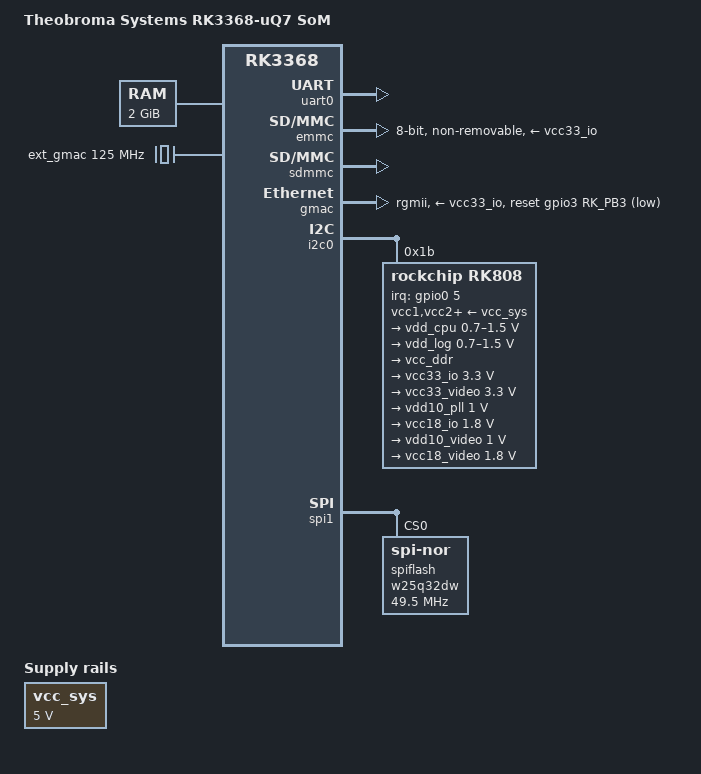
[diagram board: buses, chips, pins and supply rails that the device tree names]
// SPDX-License-Identifier: GPL-2.0+ OR X11
/*
 * (C) Copyright 2017 Theobroma Systems Design und Consulting GmbH
 */

/dts-v1/;
#include "rockchip/rk3368.dtsi"

/ {
	model = "Theobroma Systems RK3368-uQ7 SoM";
	compatible = "tsd,rk3368-uq7", "tsd,lion", "rockchip,rk3368";

	aliases {
		mmc1 = &emmc;
		mmc0 = &sdmmc;
	};

	memory@0 {
		device_type = "memory";
		reg = <0x0 0x0 0x0 0x80000000>;
	};

	ext_gmac: gmac-clk {
		compatible = "fixed-clock";
		clock-frequency = <125000000>;
		clock-output-names = "ext_gmac";
		#clock-cells = <0>;
	};

	vcc_sys: vcc-sys-regulator {
		compatible = "regulator-fixed";
		regulator-name = "vcc_sys";
		regulator-min-microvolt = <5000000>;
		regulator-max-microvolt = <5000000>;
		regulator-always-on;
		regulator-boot-on;
	};
	cpus {
		#address-cells = <0x2>;
		#size-cells = <0x0>;

		cpu-map {
			cluster0 {
				core0 {
					cpu = <&cpu_l0>;
				};
				core1 {
					cpu = <&cpu_l1>;
				};
				core2 {
					cpu = <&cpu_l2>;
				};
				core3 {
					cpu = <&cpu_l3>;
				};
			};

			cluster1 {
				core0 {
					cpu = <&cpu_b0>;
				};
				core1 {
					cpu = <&cpu_b1>;
				};
				core2 {
					cpu = <&cpu_b2>;
				};
				core3 {
					cpu = <&cpu_b3>;
				};
			};
		};

		cpu_l0: cpu@0 {
			device_type = "cpu";
			compatible = "arm,cortex-a53", "arm,armv8";
			reg = <0x0 0x0>;
			enable-method = "psci";
			clocks = <&cru ARMCLKL>;
			next-level-cache = <&cluster0_l2>;
			operating-points-v2 = <&cluster0_opp>;
		};

		cpu_l1: cpu@1 {
			device_type = "cpu";
			compatible = "arm,cortex-a53", "arm,armv8";
			reg = <0x0 0x1>;
			enable-method = "psci";
			clocks = <&cru ARMCLKL>;
			next-level-cache = <&cluster0_l2>;
			operating-points-v2 = <&cluster0_opp>;
		};

		cpu_l2: cpu@2 {
			device_type = "cpu";
			compatible = "arm,cortex-a53", "arm,armv8";
			reg = <0x0 0x2>;
			enable-method = "psci";
			clocks = <&cru ARMCLKL>;
			next-level-cache = <&cluster0_l2>;
			operating-points-v2 = <&cluster0_opp>;
		};

		cpu_l3: cpu@3 {
			device_type = "cpu";
			compatible = "arm,cortex-a53", "arm,armv8";
			reg = <0x0 0x3>;
			enable-method = "psci";
			clocks = <&cru ARMCLKL>;
			next-level-cache = <&cluster0_l2>;
			operating-points-v2 = <&cluster0_opp>;
		};

		cpu_b0: cpu@100 {
			device_type = "cpu";
			compatible = "arm,cortex-a53", "arm,armv8";
			reg = <0x0 0x100>;
			enable-method = "psci";
			clocks = <&cru ARMCLKB>;
			next-level-cache = <&cluster1_l2>;
			operating-points-v2 = <&cluster1_opp>;
		};

		cpu_b1: cpu@101 {
			device_type = "cpu";
			compatible = "arm,cortex-a53", "arm,armv8";
			reg = <0x0 0x101>;
			enable-method = "psci";
			clocks = <&cru ARMCLKB>;
			next-level-cache = <&cluster1_l2>;
			operating-points-v2 = <&cluster1_opp>;
		};

		cpu_b2: cpu@102 {
			device_type = "cpu";
			compatible = "arm,cortex-a53", "arm,armv8";
			reg = <0x0 0x102>;
			enable-method = "psci";
			clocks = <&cru ARMCLKB>;
			next-level-cache = <&cluster1_l2>;
			operating-points-v2 = <&cluster1_opp>;
		};

		cpu_b3: cpu@103 {
			device_type = "cpu";
			compatible = "arm,cortex-a53", "arm,armv8";
			reg = <0x0 0x103>;
			enable-method = "psci";
			clocks = <&cru ARMCLKB>;
			next-level-cache = <&cluster1_l2>;
			operating-points-v2 = <&cluster1_opp>;
		};

		cluster0_l2: l2-cache0 {
			compatible = "cache";
		};

		cluster1_l2: l2-cache1 {
			compatible = "cache";
		};
	};
	cluster0_opp: opp_table0 {
		compatible = "operating-points-v2";
		opp-shared;
		opp-216000000 {
			opp-hz = /bits/ 64 <216000000>;
			opp-microvolt = <950000 950000 1350000>;
			opp-microvolt-L0 = <1050000 1050000 1350000>;
			opp-microvolt-L1 = <950000 950000 1350000>;
			clock-latency-ns = <40000>;
			opp-suspend;
		};
		opp-400000000 {
			opp-hz = /bits/ 64 <400000000>;
			opp-microvolt = <950000 950000 1350000>;
			opp-microvolt-L0 = <1050000 1050000 1350000>;
			opp-microvolt-L1 = <950000 950000 1350000>;
			clock-latency-ns = <40000>;
		};
		opp-408000000 {
			opp-hz = /bits/ 64 <408000000>;
			opp-microvolt = <950000 950000 1350000>;
			opp-microvolt-L0 = <1050000 1050000 1350000>;
			opp-microvolt-L1 = <950000 950000 1350000>;
			clock-latency-ns = <40000>;
		};
		opp-600000000 {
			opp-hz = /bits/ 64 <600000000>;
			opp-microvolt = <950000 950000 1350000>;
			opp-microvolt-L0 = <1050000 1050000 1350000>;
			opp-microvolt-L1 = <950000 950000 1350000>;
			clock-latency-ns = <40000>;
		};
		opp-816000000 {
			opp-hz = /bits/ 64 <816000000>;
			opp-microvolt = <1025000 1025000 1350000>;
			opp-microvolt-L0 = <1125000 1125000 1350000>;
			opp-microvolt-L1 = <1025000 1025000 1350000>;
			clock-latency-ns = <40000>;
		};
		opp-1008000000 {
			opp-hz = /bits/ 64 <1008000000>;
			opp-microvolt = <1125000 1125000 1350000>;
			opp-microvolt-L0 = <1225000 1225000 1350000>;
			opp-microvolt-L1 = <1125000 1125000 1350000>;
			clock-latency-ns = <40000>;
		};
		opp-1200000000 {
			opp-hz = /bits/ 64 <1200000000>;
			opp-microvolt = <1225000 1225000 1350000>;
			opp-microvolt-L0 = <1325000 1325000 1350000>;
			opp-microvolt-L1 = <1225000 1225000 1350000>;
			clock-latency-ns = <40000>;
			
		};
	};
	cluster1_opp: opp_table1 {
		compatible = "operating-points-v2";
		opp-shared;
		clocks = <&cru PLL_APLLB>;
		opp-216000000 {
			opp-hz = /bits/ 64 <216000000>;
			opp-microvolt = <950000 950000 1350000>;
			opp-microvolt-L0 = <1050000 1050000 1350000>;
			opp-microvolt-L1 = <950000 950000 1350000>;
			opp-microvolt-L2 = <950000 950000 1350000>;
			clock-latency-ns = <40000>;
			opp-suspend;
		};
		opp-400000000 {
			opp-hz = /bits/ 64 <400000000>;
			opp-microvolt = <950000 950000 1350000>;
			opp-microvolt-L0 = <1050000 1050000 1350000>;
			opp-microvolt-L1 = <950000 950000 1350000>;
			clock-latency-ns = <40000>;
		};
		opp-408000000 {
			opp-hz = /bits/ 64 <408000000>;
			opp-microvolt = <950000 950000 1350000>;
			opp-microvolt-L0 = <1050000 1050000 1350000>;
			opp-microvolt-L1 = <950000 950000 1350000>;
			opp-microvolt-L2 = <950000 950000 1350000>;
			clock-latency-ns = <40000>;
		};
		opp-600000000 {
			opp-hz = /bits/ 64 <600000000>;
			opp-microvolt = <950000 950000 1350000>;
			opp-microvolt-L0 = <1050000 1050000 1350000>;
			opp-microvolt-L1 = <950000 950000 1350000>;
			opp-microvolt-L2 = <950000 950000 1350000>;
			clock-latency-ns = <40000>;
		};
		opp-816000000 {
			opp-hz = /bits/ 64 <816000000>;
			opp-microvolt = <975000 975000 1350000>;
			opp-microvolt-L0 = <1075000 1075000 1350000>;
			opp-microvolt-L1 = <975000 975000 1350000>;
			opp-microvolt-L2 = <975000 975000 1350000>;
			clock-latency-ns = <40000>;
		};
		opp-1008000000 {
			opp-hz = /bits/ 64 <1008000000>;
			opp-microvolt = <1050000 1050000 1350000>;
			opp-microvolt-L0 = <1150000 1150000 1350000>;
			opp-microvolt-L1 = <1050000 1050000 1350000>;
			opp-microvolt-L2 = <1025000 1025000 1350000>;
			clock-latency-ns = <40000>;
		};
		opp-1200000000 {
			opp-hz = /bits/ 64 <1200000000>;
			opp-microvolt = <1150000 1150000 1350000>;
			opp-microvolt-L0 = <1250000 1250000 1350000>;
			opp-microvolt-L1 = <1150000 1150000 1350000>;
			opp-microvolt-L2 = <1125000 1125000 1350000>;
			clock-latency-ns = <40000>;
		};
		opp-1296000000 {
			opp-hz = /bits/ 64 <1296000000>;
			opp-microvolt = <1225000 1225000 1350000>;
			opp-microvolt-L0 = <1350000 1350000 1350000>;
			opp-microvolt-L1 = <1225000 1225000 1350000>;
			opp-microvolt-L2 = <1200000 1200000 1350000>;
			clock-latency-ns = <40000>;
		};
		opp-1416000000 {
			opp-hz = /bits/ 64 <1416000000>;
			opp-microvolt = <1300000 1300000 1350000>;
			opp-microvolt-L0 = <1350000 1350000 1350000>;
			opp-microvolt-L1 = <1300000 1300000 1350000>;
			opp-microvolt-L2 = <1275000 1275000 1350000>;
			clock-latency-ns = <40000>;
		};
		opp-1512000000 {
			opp-hz = /bits/ 64 <1512000000>;
			opp-microvolt = <1350000 1350000 1350000>;
			opp-microvolt-L0 = <1350000 1350000 1350000>;
			opp-microvolt-L1 = <1350000 1350000 1350000>;
			opp-microvolt-L2 = <1325000 1325000 1350000>;
			clock-latency-ns = <40000>;
		};
	};
};

&uart0 {
	status = "okay";
};

&emmc {
	status = "okay";
	bus-width = <8>;
	cap-mmc-highspeed;
	clock-frequency = <150000000>;
	disable-wp;
	keep-power-in-suspend;
	non-removable;
	num-slots = <1>;
	vmmc-supply = <&vcc33_io>;
	vqmmc-supply = <&vcc18_io>;
	pinctrl-names = "default";
	pinctrl-0 = <&emmc_clk>, <&emmc_cmd>, <&emmc_bus8>;
};

&sdmmc {
	status = "okay";
};

&gmac {
	status = "okay";
	phy-supply = <&vcc33_io>;
	phy-mode = "rgmii";
	clock_in_out = "input";
	snps,reset-gpio = <&gpio3 RK_PB3 GPIO_ACTIVE_LOW>;
	snps,reset-active-low;
	snps,reset-delays-us = <2 10000 50000>;
	assigned-clocks = <&cru SCLK_MAC>;
	assigned-clock-parents = <&ext_gmac>;
	pinctrl-names = "default";
	pinctrl-0 = <&rgmii_pins>;
	tx_delay = <0x10>;
	rx_delay = <0x10>;
};

&i2c0 {
	status = "okay";

	rk808: pmic@1b {
		compatible = "rockchip,rk808";
		reg = <0x1b>;
		interrupt-parent = <&gpio0>;
		interrupts = <5 IRQ_TYPE_LEVEL_LOW>;
		rockchip,system-power-controller;
		vcc1-supply = <&vcc_sys>;
		vcc2-supply = <&vcc_sys>;
		vcc3-supply = <&vcc_sys>;
		vcc4-supply = <&vcc_sys>;
		vcc6-supply = <&vcc_sys>;
		vcc7-supply = <&vcc_sys>;
		vcc8-supply = <&vcc_sys>;
		vcc9-supply = <&vcc_sys>;
		vcc10-supply = <&vcc_sys>;
		vcc11-supply = <&vcc_sys>;
		vcc12-supply = <&vcc_sys>;
		clock-output-names = "xin32k", "rk808-clkout2";
		#clock-cells = <1>;

		regulators {
			vdd_cpu: DCDC_REG1 {
				regulator-always-on;
				regulator-boot-on;
				regulator-min-microvolt = <700000>;
				regulator-max-microvolt = <1500000>;
				regulator-name = "vdd_cpu";
			};

			vdd_log: DCDC_REG2 {
				regulator-always-on;
				regulator-boot-on;
				regulator-min-microvolt = <700000>;
				regulator-max-microvolt = <1500000>;
				regulator-name = "vdd_log";
			};

			vcc_ddr: DCDC_REG3 {
				regulator-always-on;
				regulator-boot-on;
				regulator-name = "vcc_ddr";
			};

			vcc33_io: DCDC_REG4 {
				regulator-always-on;
				regulator-boot-on;
				regulator-min-microvolt = <3300000>;
				regulator-max-microvolt = <3300000>;
				regulator-name = "vcc33_io";
			};

			vcc33_video: LDO_REG2 {
				regulator-always-on;
				regulator-boot-on;
				regulator-min-microvolt = <3300000>;
				regulator-max-microvolt = <3300000>;
				regulator-name = "vcc33_video";
			};

			vdd10_pll: LDO_REG3 {
				regulator-always-on;
				regulator-boot-on;
				regulator-min-microvolt = <1000000>;
				regulator-max-microvolt = <1000000>;
				regulator-name = "vdd10_pll";
			};

			vcc18_io: LDO_REG4 {
				regulator-boot-on;
				regulator-min-microvolt = <1800000>;
				regulator-max-microvolt = <1800000>;
				regulator-name = "vcc18_io";
			};

			vdd10_video: LDO_REG6 {
				regulator-always-on;
				regulator-boot-on;
				regulator-min-microvolt = <1000000>;
				regulator-max-microvolt = <1000000>;
				regulator-name = "vdd10_video";
			};

			vcc18_video: LDO_REG8 {
				regulator-always-on;
				regulator-boot-on;
				regulator-min-microvolt = <1800000>;
				regulator-max-microvolt = <1800000>;
				regulator-name = "vcc18_video";
			};
		};
	};
};

&uart0 {
	status = "okay";
};

&spi1 {
	status = "okay";

	#address-cells = <1>;
	#size-cells = <0>;

	spiflash: w25q32dw@0 {
		compatible = "jedec,spi-nor";
		reg = <0>;
		spi-max-frequency = <49500000>;
		spi-cpol;
		spi-cpha;
	};
};
